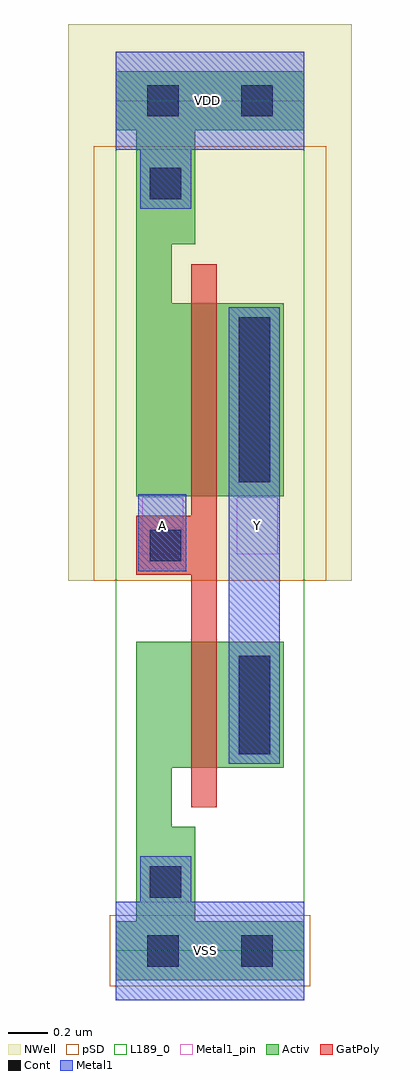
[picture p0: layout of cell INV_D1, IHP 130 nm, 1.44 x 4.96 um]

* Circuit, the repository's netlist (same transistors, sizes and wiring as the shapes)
.SUBCKT INV_D1 A Y VDD VSS
*.PININFO A:I Y:O VDD:B VSS:B 
MN0 Y A VSS VSS sg13_lv_nmos w=6.4e-07 l=1.3e-07 ng=1 
MP0 Y A VDD VDD sg13_lv_pmos w=9.8e-07 l=1.3e-07 ng=1 
.ENDS

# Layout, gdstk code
import gdstk
lib = gdstk.Library(unit=1e-6, precision=1e-09)
def R(c, l, rs):  # rectangles x0, y0, x1, y1
    for r in rs: c.add(gdstk.rectangle(r[:2], r[2:], *l))
def P(c, l, *ps):  # polygons
    for p in ps: c.add(gdstk.Polygon(p, *l))
Activ = (1, 0)
GatPoly = (5, 0)
Cont = (6, 0)
Metal1 = (8, 0)
Metal1_pin = (8, 2)
pSD = (14, 0)
NWell = (31, 0)
L189_0 = (189, 0)

inv_d1 = lib.new_cell('INV_D1')
P(inv_d1, Activ, [(0,4.17),(0.105,4.17),(0.105,2.31),(0.855,2.31),(0.855,3.29),(0.285,3.29),(0.285,3.59),(0.405,3.59),(0.405,4.17),(0.96,4.17),(0.96,4.47),(0,4.47)],
  [(0.105,0.15),(0,0.15),(0,-0.15),(0.96,-0.15),(0.96,0.15),(0.405,0.15),(0.405,0.63),(0.285,0.63),(0.285,0.93),(0.855,0.93),(0.855,1.57),(0.105,1.57)])
P(inv_d1, GatPoly, [(0.515,3.49),(0.385,3.49),(0.385,2.21),(0.105,2.21),(0.105,1.91),(0.385,1.91),(0.385,0.73),(0.515,0.73)])
R(inv_d1, Cont, [(0.16,-0.08,0.32,0.08), (0.64,-0.08,0.8,0.08), (0.175,0.27,0.335,0.43), (0.625,1,0.785,1.5), (0.175,1.98,0.335,2.14), (0.625,2.38,0.785,3.22), (0.175,3.82,0.335,3.98), (0.16,4.24,0.32,4.4), (0.64,4.24,0.8,4.4)])
R(inv_d1, Metal1, [(0.575,0.95,0.835,3.27), (0.115,1.93,0.36,2.32)])
P(inv_d1, Metal1, [(0.385,3.77),(0.385,4.07),(0.96,4.07),(0.96,4.57),(0,4.57),(0,4.07),(0.125,4.07),(0.125,3.77)],
  [(0.96,0.25),(0.385,0.25),(0.385,0.48),(0.125,0.48),(0.125,0.25),(0,0.25),(0,-0.25),(0.96,-0.25)])
R(inv_d1, Metal1_pin, [(0,-0.25,0.96,0.25), (0.135,2.015,0.345,2.305), (0.615,2.015,0.825,2.305), (0,4.07,0.96,4.57)])
R(inv_d1, pSD, [(-0.03,-0.18,0.99,0.18), (-0.11,1.88,1.07,4.09)])
R(inv_d1, NWell, [(-0.24,1.88,1.2,4.71)])
R(inv_d1, L189_0, [(0,0,0.96,4.32)])
inv_d1.add(gdstk.Label('VDD', (0.465,4.32), layer=8, texttype=25))
inv_d1.add(gdstk.Label('VSS', (0.455,0), layer=8, texttype=25))
inv_d1.add(gdstk.Label('Y', (0.72,2.16), layer=8, texttype=25))
inv_d1.add(gdstk.Label('A', (0.24,2.16), layer=8, texttype=25))

lib.write_gds('INV_D1.gds')
